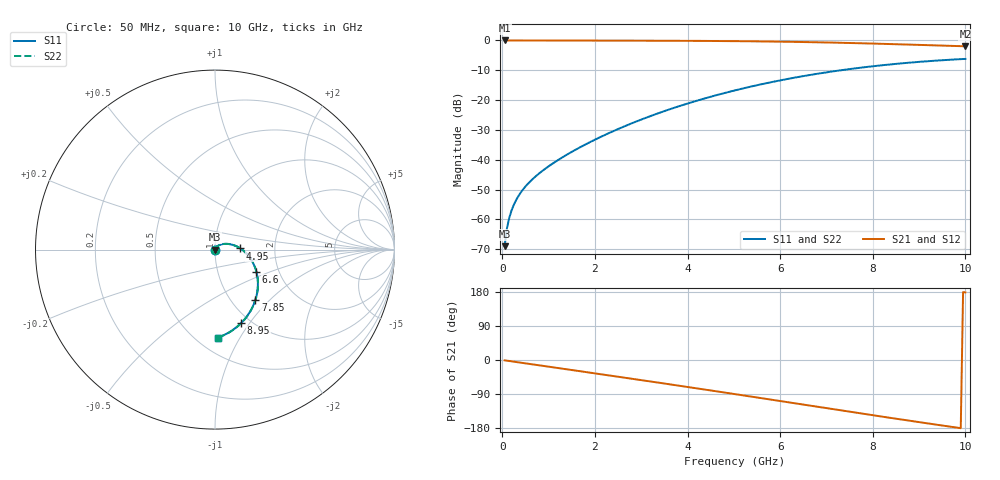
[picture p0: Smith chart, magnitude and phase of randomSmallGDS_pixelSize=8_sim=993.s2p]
! freq	dB(S11)	phase(S11)	dB(S12)	phase(S12)
!  dB(S21)	phase(S21)	dB(S22)	phase(S22)
!S-par simulation data
#  GHz  S  DB  R 50
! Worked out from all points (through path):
!   200 points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, 50 MHz to 10 GHz, reference 50 ohm
!   highest |S21| = 0.00 dB at 50 MHz (marker M1); lowest = -2.0 dB at 10 GHz (marker M2)
!   group delay of S21, straight-line fit = 50.9 ps
!   lowest |S11| = -68.9 dB at 50 MHz (marker M3), VSWR 1.00, Z = 50 + j0.0354 ohm
!   |S11| at or under -10 dB: start of sweep to 7.304 GHz
!   |S22| runs from -68.9 to -6.2 dB; largest |S21 - S12| = 0
!   S11 on the Smith chart (normalised r, x): 50 MHz: 1.00, +0.00; 4.95 GHz: 1.33, +0.02; 6.6 GHz: 1.53, -0.40; 7.85 GHz: 1.29, -0.82; 8.95 GHz: 0.90, -0.91; 10 GHz: 0.63, -0.81
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0.05  -68.94 82.5  -0.00 -0.9  -0.00 -0.9  -68.94 82.5
0.1  -62.96 84.5  -0.00 -1.8  -0.00 -1.8  -62.96 84.6
0.15  -59.45 84.5  -0.00 -2.7  -0.00 -2.7  -59.45 84.5
0.2  -56.96 84.0  -0.00 -3.6  -0.00 -3.6  -56.96 84.0
0.3  -53.45 82.5  -0.00 -5.3  -0.00 -5.3  -53.45 82.6
0.45  -49.88 80.2  -0.01 -8.0  -0.01 -8.0  -49.89 80.3
0.65  -46.52 77.3  -0.01 -11.5  -0.01 -11.5  -46.52 77.4
0.95  -42.73 73.0  -0.02 -16.8  -0.02 -16.8  -42.73 73.2
1.75  -35.22 60.4  -0.04 -30.8  -0.04 -30.8  -35.22 60.6
2.55  -29.35 46.5  -0.06 -45.0  -0.06 -45.0  -29.35 46.7
3.4  -24.22 31.1  -0.09 -60.2  -0.09 -60.2  -24.22 31.3
4.2  -20.20 16.5  -0.14 -74.8  -0.14 -74.8  -20.20 16.7
4.95  -17.02 2.7  -0.22 -88.6  -0.22 -88.6  -17.01 2.9
5.05  -16.63 0.8  -0.23 -90.5  -0.23 -90.5  -16.63 1.0
5.8  -14.00 -13.1  -0.36 -104.5  -0.36 -104.5  -14.00 -12.9
6.6  -11.68 -28.0  -0.55 -119.5  -0.55 -119.5  -11.68 -27.8
6.7  -11.42 -29.9  -0.58 -121.4  -0.58 -121.4  -11.42 -29.7
7.3  -10.01 -41.0  -0.77 -132.7  -0.77 -132.7  -10.01 -40.8
7.85  -8.92 -51.0  -0.98 -142.9  -0.98 -142.9  -8.91 -50.8
8.35  -8.07 -60.0  -1.19 -152.2  -1.19 -152.2  -8.07 -59.8
8.95  -7.23 -70.5  -1.46 -163.1  -1.46 -163.1  -7.23 -70.3
10  -6.18 -88.4  -1.96 178.3  -1.96 178.3  -6.18 -88.2
